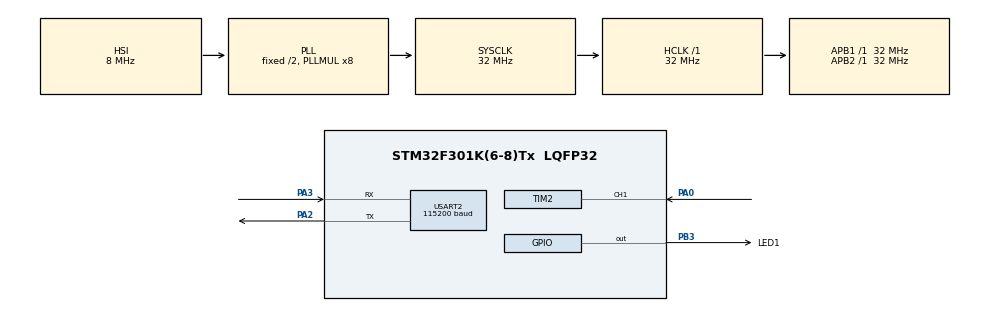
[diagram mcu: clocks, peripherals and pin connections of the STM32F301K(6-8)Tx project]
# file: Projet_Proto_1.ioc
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Mcu.Family=STM32F3
Mcu.Name=STM32F301K(6-8)Tx
Mcu.Package=LQFP32
NVIC.PriorityGroup=NVIC_PRIORITYGROUP_4
NVIC.TIM2_IRQn=true\:0\:0\:false\:false\:true\:true\:true\:true
PA0.Signal=S_TIM2_CH1_ETR
PA2.Mode=Asynchronous
PA2.Signal=USART2_TX
PA3.Mode=Asynchronous
PA3.Signal=USART2_RX
PB3.GPIO_Label=LED1
PB3.Signal=GPIO_Output
ProjectManager.HeapSize=0x200
ProjectManager.StackSize=0x400
ProjectManager.TargetToolchain=STM32CubeIDE
RCC.AHBFreq_Value=32000000
RCC.APB1Freq_Value=32000000
RCC.APB1TimFreq_Value=32000000
RCC.APB2Freq_Value=32000000
RCC.APB2TimFreq_Value=32000000
RCC.CortexFreq_Value=32000000
RCC.HCLKFreq_Value=32000000
RCC.HSE_VALUE=8000000
RCC.HSI_VALUE=8000000
RCC.PLLMUL=RCC_PLL_MUL8
RCC.SYSCLKFreq_VALUE=32000000
RCC.SYSCLKSourceVirtual=RCC_SYSCLKSOURCE_PLLCLK
SH.S_TIM2_CH1_ETR.0=TIM2_CH1,Input_Capture1_from_TI1
TIM2.Channel-Input_Capture1_from_TI1=TIM_CHANNEL_1
USART2.BaudRate=115200
USART2.VirtualMode-Asynchronous=VM_ASYNC
VP_TIM2_VS_ClockSourceINT.Mode=Internal
board=custom

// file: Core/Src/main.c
/* USER CODE BEGIN Header */
/**
  ******************************************************************************
  * @file           : main.c
  * @brief          : Main program body
  ******************************************************************************
  * @attention
  *
  * Copyright (c) 2024 STMicroelectronics.
  * All rights reserved.
  *
  * This software is licensed under terms that can be found in the LICENSE file
  * in the root directory of this software component.
  * If no LICENSE file comes with this software, it is provided AS-IS.
  *
  ******************************************************************************
  */
/* USER CODE END Header */
#include "main.h"

/* USER CODE BEGIN Includes */
#include <stdio.h>
#include <string.h>
/* USER CODE END Includes */

TIM_HandleTypeDef htim2;

UART_HandleTypeDef huart2;

/* USER CODE BEGIN PV */
volatile uint32_t  clock_act;
volatile uint32_t  clock_before =0;
volatile uint32_t  period =0;
volatile uint32_t  freq =0;
volatile uint32_t  Capacity =2;
volatile float temp;
volatile int capture =0;
/* USER CODE END PV */

void SystemClock_Config(void);
static void MX_GPIO_Init(void);
static void MX_TIM2_Init(void);
static void MX_USART2_UART_Init(void);

/* USER CODE BEGIN 0 */
char msg_data[100];
/* USER CODE END 0 */

int main(void)
{

  /* MCU Configuration--------------------------------------------------------*/

  /* Reset of all peripherals, Initializes the Flash interface and the Systick. */
  HAL_Init();

  /* Configure the system clock */
  SystemClock_Config();

  /* Initialize all configured peripherals */
  MX_GPIO_Init();
  MX_TIM2_Init();
  MX_USART2_UART_Init();
  /* USER CODE BEGIN 2 */
  HAL_TIM_IC_Start_IT(&htim2, TIM_CHANNEL_1);
  /* USER CODE END 2 */

  /* Infinite loop */
  while (1)
  {
  }
}

void SystemClock_Config(void)
{
  RCC_OscInitTypeDef RCC_OscInitStruct = {0};
  RCC_ClkInitTypeDef RCC_ClkInitStruct = {0};

  /** Initializes the RCC Oscillators according to the specified parameters
  * in the RCC_OscInitTypeDef structure.
  */
  RCC_OscInitStruct.OscillatorType = RCC_OSCILLATORTYPE_HSI;
  RCC_OscInitStruct.HSIState = RCC_HSI_ON;
  RCC_OscInitStruct.HSICalibrationValue = RCC_HSICALIBRATION_DEFAULT;
  RCC_OscInitStruct.PLL.PLLState = RCC_PLL_ON;
  RCC_OscInitStruct.PLL.PLLSource = RCC_PLLSOURCE_HSI;
  RCC_OscInitStruct.PLL.PLLMUL = RCC_PLL_MUL8;
  if (HAL_RCC_OscConfig(&RCC_OscInitStruct) != HAL_OK)
  {
    Error_Handler();
  }

  /** Initializes the CPU, AHB and APB buses clocks
  */
  RCC_ClkInitStruct.ClockType = RCC_CLOCKTYPE_HCLK|RCC_CLOCKTYPE_SYSCLK
                              |RCC_CLOCKTYPE_PCLK1|RCC_CLOCKTYPE_PCLK2;
  RCC_ClkInitStruct.SYSCLKSource = RCC_SYSCLKSOURCE_PLLCLK;
  RCC_ClkInitStruct.AHBCLKDivider = RCC_SYSCLK_DIV1;
  RCC_ClkInitStruct.APB1CLKDivider = RCC_HCLK_DIV1;
  RCC_ClkInitStruct.APB2CLKDivider = RCC_HCLK_DIV1;

  if (HAL_RCC_ClockConfig(&RCC_ClkInitStruct, FLASH_LATENCY_1) != HAL_OK)
  {
    Error_Handler();
  }
}

static void MX_TIM2_Init(void)
{

  TIM_ClockConfigTypeDef sClockSourceConfig = {0};
  TIM_MasterConfigTypeDef sMasterConfig = {0};
  TIM_IC_InitTypeDef sConfigIC = {0};

  htim2.Instance = TIM2;
  htim2.Init.Prescaler = 0;
  htim2.Init.CounterMode = TIM_COUNTERMODE_UP;
  htim2.Init.Period = 4294967295;
  htim2.Init.ClockDivision = TIM_CLOCKDIVISION_DIV1;
  htim2.Init.AutoReloadPreload = TIM_AUTORELOAD_PRELOAD_DISABLE;
  if (HAL_TIM_Base_Init(&htim2) != HAL_OK)
  {
    Error_Handler();
  }
  sClockSourceConfig.ClockSource = TIM_CLOCKSOURCE_INTERNAL;
  if (HAL_TIM_ConfigClockSource(&htim2, &sClockSourceConfig) != HAL_OK)
  {
    Error_Handler();
  }
  if (HAL_TIM_IC_Init(&htim2) != HAL_OK)
  {
    Error_Handler();
  }
  sMasterConfig.MasterOutputTrigger = TIM_TRGO_RESET;
  sMasterConfig.MasterSlaveMode = TIM_MASTERSLAVEMODE_DISABLE;
  if (HAL_TIMEx_MasterConfigSynchronization(&htim2, &sMasterConfig) != HAL_OK)
  {
    Error_Handler();
  }
  sConfigIC.ICPolarity = TIM_INPUTCHANNELPOLARITY_RISING;
  sConfigIC.ICSelection = TIM_ICSELECTION_DIRECTTI;
  sConfigIC.ICPrescaler = TIM_ICPSC_DIV1;
  sConfigIC.ICFilter = 0;
  if (HAL_TIM_IC_ConfigChannel(&htim2, &sConfigIC, TIM_CHANNEL_1) != HAL_OK)
  {
    Error_Handler();
  }

}

static void MX_USART2_UART_Init(void)
{

  huart2.Instance = USART2;
  huart2.Init.BaudRate = 115200;
  huart2.Init.WordLength = UART_WORDLENGTH_8B;
  huart2.Init.StopBits = UART_STOPBITS_1;
  huart2.Init.Parity = UART_PARITY_NONE;
  huart2.Init.Mode = UART_MODE_TX_RX;
  huart2.Init.HwFlowCtl = UART_HWCONTROL_NONE;
  huart2.Init.OverSampling = UART_OVERSAMPLING_16;
  huart2.Init.OneBitSampling = UART_ONE_BIT_SAMPLE_DISABLE;
  huart2.AdvancedInit.AdvFeatureInit = UART_ADVFEATURE_NO_INIT;
  if (HAL_UART_Init(&huart2) != HAL_OK)
  {
    Error_Handler();
  }

}

static void MX_GPIO_Init(void)
{
  GPIO_InitTypeDef GPIO_InitStruct = {0};

  /* GPIO Ports Clock Enable */
  __HAL_RCC_GPIOA_CLK_ENABLE();
  __HAL_RCC_GPIOB_CLK_ENABLE();

  /*Configure GPIO pin Output Level */
  HAL_GPIO_WritePin(LED1_GPIO_Port, LED1_Pin, GPIO_PIN_RESET);

  /*Configure GPIO pin : LED1_Pin */
  GPIO_InitStruct.Pin = LED1_Pin;
  GPIO_InitStruct.Mode = GPIO_MODE_OUTPUT_PP;
  GPIO_InitStruct.Pull = GPIO_NOPULL;
  GPIO_InitStruct.Speed = GPIO_SPEED_FREQ_LOW;
  HAL_GPIO_Init(LED1_GPIO_Port, &GPIO_InitStruct);

}

/* USER CODE BEGIN 4 */
void HAL_TIM_IC_CaptureCallback(TIM_HandleTypeDef *htim)
{
	HAL_GPIO_TogglePin(LED1_GPIO_Port, LED1_Pin);
	if (htim->Instance == TIM2 && htim->Channel == HAL_TIM_ACTIVE_CHANNEL_1 )
	{
		if(capture == 0)
		{
			clock_before = HAL_TIM_ReadCapturedValue(htim, TIM_CHANNEL_1);
			capture =1;
		}
		else
		{
			clock_act = HAL_TIM_ReadCapturedValue(htim, TIM_CHANNEL_1);
			period = clock_act - clock_before;
			capture =0;

			temp = HAL_RCC_GetPCLK1Freq()/period;
			freq = temp;
			Capacity = (1000000/freq);

			sprintf(msg_data,"Frequence : %lu Hz | Capacite : %lu pF \n\r",freq, Capacity);
			HAL_UART_Transmit(&huart2, (uint8_t*) msg_data, strlen(msg_data), HAL_MAX_DELAY);
		}

	}
}
/* USER CODE END 4 */

void Error_Handler(void)
{
  __disable_irq();
  while (1)
  {
  }
}
